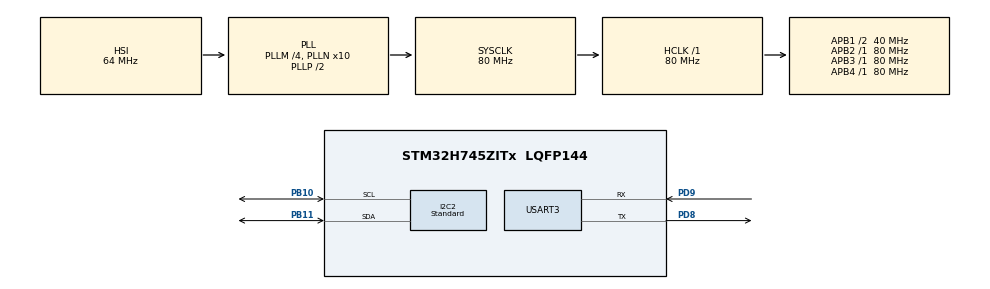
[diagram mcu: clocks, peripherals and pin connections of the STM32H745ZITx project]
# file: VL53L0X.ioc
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CORTEX_M7.default_mode_Activation=1
CortexM4.IPs=CORTEX_M4\:I,FATFS_M4\:I,FREERTOS_M4\:I,IWDG2\:I,OPENAMP_M4\:I,PDM2PCM_M4\:I,PWR,RCC,RESMGR_UTILITY,SYS_M4\:I,USB_DEVICE_M4\:I,USB_HOST_M4\:I,VREFBUF,WWDG2\:I,GPIO,DMA,BDMA,MDMA,NVIC2\:I
CortexM7.IPs=CORTEX_M7\:I,FATFS_M7\:I,FREERTOS_M7\:I,IWDG1\:I,OPENAMP_M7\:I,PDM2PCM_M7\:I,PWR\:I,RCC\:I,RESMGR_UTILITY\:I,SYS\:I,USB_DEVICE_M7\:I,USB_HOST_M7\:I,VREFBUF\:I,WWDG1\:I,GPIO\:I,DMA\:I,BDMA\:I,MDMA\:I,NVIC1\:I,TIM1\:I,USART3\:I,I2C2\:I
I2C2.I2C_Speed_Mode=I2C_Standard
I2C2.Timing=0x00909BEB
Mcu.Family=STM32H7
Mcu.Name=STM32H745ZITx
Mcu.Package=LQFP144
NVIC1.PriorityGroup=NVIC_PRIORITYGROUP_4
NVIC2.PriorityGroup=NVIC_PRIORITYGROUP_4
PB10.Mode=I2C
PB10.PinAttribute=CortexM7
PB10.Signal=I2C2_SCL
PB11.Mode=I2C
PB11.PinAttribute=CortexM7
PB11.Signal=I2C2_SDA
PD8.Mode=Asynchronous
PD8.PinAttribute=CortexM7
PD8.Signal=USART3_TX
PD9.Mode=Asynchronous
PD9.PinAttribute=CortexM7
PD9.Signal=USART3_RX
PH0-OSC_IN\ (PH0).Mode=HSE-External-Oscillator
PH0-OSC_IN\ (PH0).PinAttribute=Free
PH0-OSC_IN\ (PH0).Signal=RCC_OSC_IN
PH1-OSC_OUT\ (PH1).Mode=HSE-External-Oscillator
PH1-OSC_OUT\ (PH1).PinAttribute=Free
PH1-OSC_OUT\ (PH1).Signal=RCC_OSC_OUT
ProjectManager.HeapSize=M4-0x200,M7-0x200
ProjectManager.StackSize=M4-0x400,M7-0x400
ProjectManager.TargetToolchain=STM32CubeIDE
RCC.ADCFreq_Value=129000000
RCC.APB1Freq_Value=40000000
RCC.APB2Freq_Value=80000000
RCC.APB3Freq_Value=80000000
RCC.APB4Freq_Value=80000000
RCC.CortexFreq_Value=80000000
RCC.D2PPRE1=RCC_APB1_DIV2
RCC.DIVM1=4
RCC.DIVN1=10
RCC.HCLKFreq_Value=80000000
RCC.PLL2FRACN=0
RCC.PLL3FRACN=0
RCC.PLLFRACN=0
RCC.SYSCLKFreq_VALUE=80000000
RCC.SYSCLKSource=RCC_SYSCLKSOURCE_PLLCLK
RCC.USBFreq_Value=80000000
SYS.userName=SYS_M7
USART3.VirtualMode-Asynchronous=VM_ASYNC
VP_SYS_M4_VS_Systick.Mode=SysTick
VP_TIM1_VS_ClockSourceINT.Mode=Internal
board=custom

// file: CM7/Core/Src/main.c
/* USER CODE BEGIN Header */
/**
  ******************************************************************************
  * @file           : main.c
  * @brief          : Main program body
  ******************************************************************************
  * @attention
  *
  * Copyright (c) 2025 STMicroelectronics.
  * All rights reserved.
  *
  * This software is licensed under terms that can be found in the LICENSE file
  * in the root directory of this software component.
  * If no LICENSE file comes with this software, it is provided AS-IS.
  *
  ******************************************************************************
  */
/* USER CODE END Header */
#include "main.h"
#include "i2c.h"
#include "tim.h"
#include "usart.h"
#include "gpio.h"

/* USER CODE BEGIN Includes */
#include "vl53l0x_api.h"
/* USER CODE END Includes */

/* USER CODE BEGIN PD */

#ifndef HSEM_ID_0
#define HSEM_ID_0 (0U) /* HW semaphore 0*/
#endif

/* USER CODE END PD */

/* USER CODE BEGIN PV */
uint8_t Message[64];
uint8_t MessageLen;

VL53L0X_RangingMeasurementData_t RangingData;
VL53L0X_Dev_t  vl53l0x_c; // center module
VL53L0X_DEV    Dev = &vl53l0x_c;
/* USER CODE END PV */

void SystemClock_Config(void);
static void MPU_Config(void);

/* USER CODE BEGIN 0 */
int buffer[10] = {0};
int index_i = 0;
int i = 0;
int filtered = 0;

int medianFilter5(int arr[]) {
    int temp[10];

    // Копируем и сортируем
    for(int i = 0; i < 10; i++) temp[i] = arr[i];

    // Простая сортировка пузырьком
    for(int i = 0; i < 9; i++) {
        for(int j = i+1; j < 10; j++) {
            if(temp[i] > temp[j]) {
                int tmp = temp[i];
                temp[i] = temp[j];
                temp[j] = tmp;
            }
        }
    }

    return temp[5]; // медиана
}

void measureDistVLX(){
	  uint16_t MessageLen;
	  uint8_t Message[50];

	  uint32_t start = 0;
	  uint32_t end = 0;
	  uint32_t time_ms = 0;

	  start = HAL_GetTick();
	  VL53L0X_PerformSingleRangingMeasurement(Dev, &RangingData);

	  if(RangingData.RangeStatus == 0)
	  {
		  buffer[index_i] = RangingData.RangeMilliMeter;

		  MessageLen = sprintf((char*)Message, "Raw distance: %i mm", RangingData.RangeMilliMeter);
		  HAL_UART_Transmit(&huart3, Message, MessageLen, 100);

		  if (i >= 8) {
			  filtered = medianFilter5(buffer);
			  MessageLen = sprintf((char*)Message, " | Filtered: %i mm", filtered);
		  } else {
			  MessageLen = sprintf((char*)Message, "\n\r");
		  }
		  HAL_UART_Transmit(&huart3, Message, MessageLen, 100);

		  i++;
		  if(i == 1000)
			  i = 8;
		  index_i = (index_i + 1) % 10;
	  }
	  else {
		  MessageLen = sprintf((char*)Message, "Raw distance: %i mm", 2000);
		  HAL_UART_Transmit(&huart3, Message, MessageLen, 100);
		  MessageLen = sprintf((char*)Message, " | Filtered: %i mm", 2000);
		  HAL_UART_Transmit(&huart3, Message, MessageLen, 100);
	  }

	  end = HAL_GetTick();
	  time_ms = end - start;

	  MessageLen = sprintf((char*)Message, " | Execution time: %lu ms\n", time_ms);
	  HAL_UART_Transmit(&huart3, Message, MessageLen, 100);
}
/* USER CODE END 0 */

int main(void)
{

  /* USER CODE BEGIN 1 */
	//
	// VL53L0X initialisation stuff
	//
    uint32_t refSpadCount;
    uint8_t isApertureSpads;
    uint8_t VhvSettings;
    uint8_t PhaseCal;
  /* USER CODE END 1 */
/* USER CODE BEGIN Boot_Mode_Sequence_0 */
  int32_t timeout;
/* USER CODE END Boot_Mode_Sequence_0 */

  /* MPU Configuration--------------------------------------------------------*/
  MPU_Config();

/* USER CODE BEGIN Boot_Mode_Sequence_1 */
  /* Wait until CPU2 boots and enters in stop mode or timeout*/
  timeout = 0xFFFF;
  while((__HAL_RCC_GET_FLAG(RCC_FLAG_D2CKRDY) != RESET) && (timeout-- > 0));
  if ( timeout < 0 )
  {
  Error_Handler();
  }
/* USER CODE END Boot_Mode_Sequence_1 */
  /* MCU Configuration--------------------------------------------------------*/

  /* Reset of all peripherals, Initializes the Flash interface and the Systick. */
  HAL_Init();

  /* Configure the system clock */
  SystemClock_Config();
/* USER CODE BEGIN Boot_Mode_Sequence_2 */
/* When system initialization is finished, Cortex-M7 will release Cortex-M4 by means of
HSEM notification */
/*HW semaphore Clock enable*/
__HAL_RCC_HSEM_CLK_ENABLE();
/*Take HSEM */
HAL_HSEM_FastTake(HSEM_ID_0);
/*Release HSEM in order to notify the CPU2(CM4)*/
HAL_HSEM_Release(HSEM_ID_0,0);
/* wait until CPU2 wakes up from stop mode */
timeout = 0xFFFF;
while((__HAL_RCC_GET_FLAG(RCC_FLAG_D2CKRDY) == RESET) && (timeout-- > 0));
if ( timeout < 0 )
{
Error_Handler();
}
/* USER CODE END Boot_Mode_Sequence_2 */

  /* Initialize all configured peripherals */
  MX_GPIO_Init();
  MX_I2C2_Init();
  MX_TIM1_Init();
  MX_USART3_UART_Init();
  /* USER CODE BEGIN 2 */
  MessageLen = sprintf((char*)Message, "VL53L0X test\n\r");
  HAL_UART_Transmit(&huart3, Message, MessageLen, 100);

  Dev->I2cHandle = &hi2c2;
  Dev->I2cDevAddr = 0x52;

  HAL_GPIO_WritePin(TOF_XSHUT_GPIO_Port, TOF_XSHUT_Pin, GPIO_PIN_RESET); // Disable XSHUT
  HAL_Delay(20);
  HAL_GPIO_WritePin(TOF_XSHUT_GPIO_Port, TOF_XSHUT_Pin, GPIO_PIN_SET); // Enable XSHUT
  HAL_Delay(20);

  //
  // VL53L0X init for Single Measurement
  //

  VL53L0X_WaitDeviceBooted( Dev );
  VL53L0X_DataInit( Dev );
  VL53L0X_StaticInit( Dev );
  VL53L0X_PerformRefCalibration(Dev, &VhvSettings, &PhaseCal);
  VL53L0X_PerformRefSpadManagement(Dev, &refSpadCount, &isApertureSpads);
  VL53L0X_SetDeviceMode(Dev, VL53L0X_DEVICEMODE_SINGLE_RANGING);

  // Enable/Disable Sigma and Signal check
  VL53L0X_SetLimitCheckEnable(Dev, VL53L0X_CHECKENABLE_SIGMA_FINAL_RANGE, 1);
  VL53L0X_SetLimitCheckEnable(Dev, VL53L0X_CHECKENABLE_SIGNAL_RATE_FINAL_RANGE, 1);
  VL53L0X_SetLimitCheckValue(Dev, VL53L0X_CHECKENABLE_SIGNAL_RATE_FINAL_RANGE, (FixPoint1616_t)(0.1*65536));
  VL53L0X_SetLimitCheckValue(Dev, VL53L0X_CHECKENABLE_SIGMA_FINAL_RANGE, (FixPoint1616_t)(60*65536));
  VL53L0X_SetMeasurementTimingBudgetMicroSeconds(Dev, 33000);
  VL53L0X_SetVcselPulsePeriod(Dev, VL53L0X_VCSEL_PERIOD_PRE_RANGE, 18);
  VL53L0X_SetVcselPulsePeriod(Dev, VL53L0X_VCSEL_PERIOD_FINAL_RANGE, 14);

  /* USER CODE END 2 */

  /* Infinite loop */
  /* USER CODE BEGIN WHILE */

  while (1)
  {
	  measureDistVLX();
    /* USER CODE END WHILE */

  }
}

void SystemClock_Config(void)
{
  RCC_OscInitTypeDef RCC_OscInitStruct = {0};
  RCC_ClkInitTypeDef RCC_ClkInitStruct = {0};

  /** Supply configuration update enable
  */
  HAL_PWREx_ConfigSupply(PWR_DIRECT_SMPS_SUPPLY);

  /** Configure the main internal regulator output voltage
  */
  __HAL_PWR_VOLTAGESCALING_CONFIG(PWR_REGULATOR_VOLTAGE_SCALE3);

  while(!__HAL_PWR_GET_FLAG(PWR_FLAG_VOSRDY)) {}

  /** Initializes the RCC Oscillators according to the specified parameters
  * in the RCC_OscInitTypeDef structure.
  */
  RCC_OscInitStruct.OscillatorType = RCC_OSCILLATORTYPE_HSI;
  RCC_OscInitStruct.HSIState = RCC_HSI_DIV1;
  RCC_OscInitStruct.HSICalibrationValue = RCC_HSICALIBRATION_DEFAULT;
  RCC_OscInitStruct.PLL.PLLState = RCC_PLL_ON;
  RCC_OscInitStruct.PLL.PLLSource = RCC_PLLSOURCE_HSI;
  RCC_OscInitStruct.PLL.PLLM = 4;
  RCC_OscInitStruct.PLL.PLLN = 10;
  RCC_OscInitStruct.PLL.PLLP = 2;
  RCC_OscInitStruct.PLL.PLLQ = 2;
  RCC_OscInitStruct.PLL.PLLR = 2;
  RCC_OscInitStruct.PLL.PLLRGE = RCC_PLL1VCIRANGE_3;
  RCC_OscInitStruct.PLL.PLLVCOSEL = RCC_PLL1VCOMEDIUM;
  RCC_OscInitStruct.PLL.PLLFRACN = 0;
  if (HAL_RCC_OscConfig(&RCC_OscInitStruct) != HAL_OK)
  {
    Error_Handler();
  }

  /** Initializes the CPU, AHB and APB buses clocks
  */
  RCC_ClkInitStruct.ClockType = RCC_CLOCKTYPE_HCLK|RCC_CLOCKTYPE_SYSCLK
                              |RCC_CLOCKTYPE_PCLK1|RCC_CLOCKTYPE_PCLK2
                              |RCC_CLOCKTYPE_D3PCLK1|RCC_CLOCKTYPE_D1PCLK1;
  RCC_ClkInitStruct.SYSCLKSource = RCC_SYSCLKSOURCE_PLLCLK;
  RCC_ClkInitStruct.SYSCLKDivider = RCC_SYSCLK_DIV1;
  RCC_ClkInitStruct.AHBCLKDivider = RCC_HCLK_DIV1;
  RCC_ClkInitStruct.APB3CLKDivider = RCC_APB3_DIV1;
  RCC_ClkInitStruct.APB1CLKDivider = RCC_APB1_DIV2;
  RCC_ClkInitStruct.APB2CLKDivider = RCC_APB2_DIV1;
  RCC_ClkInitStruct.APB4CLKDivider = RCC_APB4_DIV1;

  if (HAL_RCC_ClockConfig(&RCC_ClkInitStruct, FLASH_LATENCY_1) != HAL_OK)
  {
    Error_Handler();
  }
}

 /* MPU Configuration */

void MPU_Config(void)
{
  MPU_Region_InitTypeDef MPU_InitStruct = {0};

  /* Disables the MPU */
  HAL_MPU_Disable();

  /** Initializes and configures the Region and the memory to be protected
  */
  MPU_InitStruct.Enable = MPU_REGION_ENABLE;
  MPU_InitStruct.Number = MPU_REGION_NUMBER0;
  MPU_InitStruct.BaseAddress = 0x0;
  MPU_InitStruct.Size = MPU_REGION_SIZE_4GB;
  MPU_InitStruct.SubRegionDisable = 0x87;
  MPU_InitStruct.TypeExtField = MPU_TEX_LEVEL0;
  MPU_InitStruct.AccessPermission = MPU_REGION_NO_ACCESS;
  MPU_InitStruct.DisableExec = MPU_INSTRUCTION_ACCESS_DISABLE;
  MPU_InitStruct.IsShareable = MPU_ACCESS_SHAREABLE;
  MPU_InitStruct.IsCacheable = MPU_ACCESS_NOT_CACHEABLE;
  MPU_InitStruct.IsBufferable = MPU_ACCESS_NOT_BUFFERABLE;

  HAL_MPU_ConfigRegion(&MPU_InitStruct);
  /* Enables the MPU */
  HAL_MPU_Enable(MPU_PRIVILEGED_DEFAULT);

}

void Error_Handler(void)
{
  __disable_irq();
  while (1)
  {
  }
}
